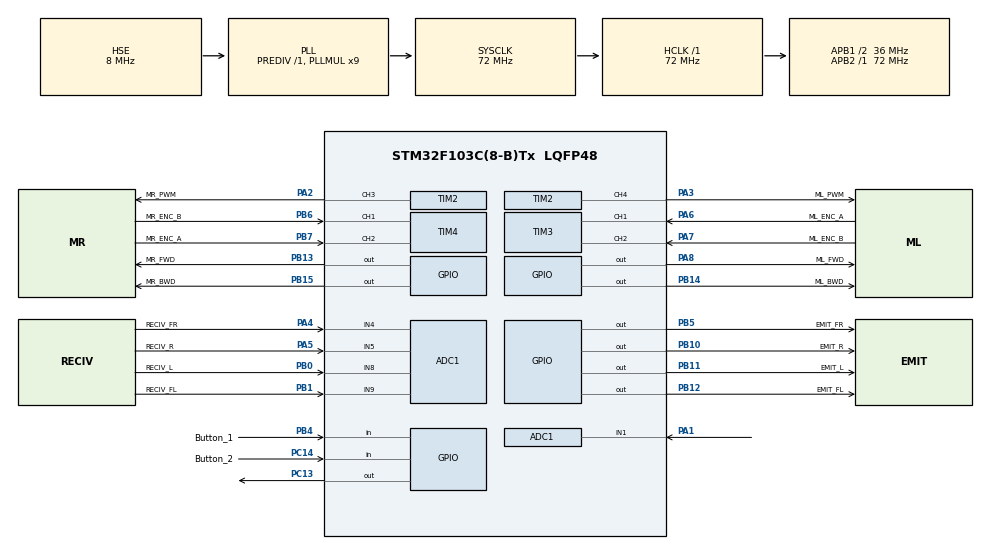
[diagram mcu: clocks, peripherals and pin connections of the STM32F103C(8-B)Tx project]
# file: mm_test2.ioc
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ADC1.Channel-0\#ChannelRegularConversion=ADC_CHANNEL_4
ADC1.NbrOfConversionFlag=1
ADC1.Rank-0\#ChannelRegularConversion=1
ADC1.SamplingTime-0\#ChannelRegularConversion=ADC_SAMPLETIME_1CYCLE_5
ADC1.master=1
Mcu.Family=STM32F1
Mcu.Name=STM32F103C(8-B)Tx
Mcu.Package=LQFP48
NVIC.PriorityGroup=NVIC_PRIORITYGROUP_4
NVIC.TIM2_IRQn=true\:0\:0\:false\:false\:true\:true\:true\:true
NVIC.TIM3_IRQn=true\:0\:0\:false\:false\:true\:true\:true\:true
NVIC.TIM4_IRQn=true\:0\:0\:false\:false\:true\:true\:true\:true
PA1.Signal=ADCx_IN1
PA10.Signal=USART1_RX
PA13.Mode=Serial_Wire
PA13.Signal=SYS_JTMS-SWDIO
PA14.Mode=Serial_Wire
PA14.Signal=SYS_JTCK-SWCLK
PA2.GPIO_Label=MR_PWM
PA2.Signal=S_TIM2_CH3
PA3.GPIO_Label=ML_PWM
PA3.Signal=S_TIM2_CH4
PA4.GPIO_Label=RECIV_FR
PA4.Signal=ADCx_IN4
PA5.GPIO_Label=RECIV_R
PA5.Signal=ADCx_IN5
PA6.GPIO_Label=ML_ENC_A
PA6.Signal=S_TIM3_CH1
PA7.GPIO_Label=ML_ENC_B
PA7.Signal=S_TIM3_CH2
PA8.GPIO_Label=ML_FWD
PA8.Signal=GPIO_Output
PA9.Signal=USART1_TX
PB0.GPIO_Label=RECIV_L
PB0.Signal=ADCx_IN8
PB1.GPIO_Label=RECIV_FL
PB1.Signal=ADCx_IN9
PB10.GPIO_Label=EMIT_R
PB10.Signal=GPIO_Output
PB11.GPIO_Label=EMIT_L
PB11.Signal=GPIO_Output
PB12.GPIO_Label=EMIT_FL
PB12.Signal=GPIO_Output
PB13.GPIO_Label=MR_FWD
PB13.Signal=GPIO_Output
PB14.GPIO_Label=ML_BWD
PB14.Signal=GPIO_Output
PB15.GPIO_Label=MR_BWD
PB15.Signal=GPIO_Output
PB4.GPIO_Label=Button_1
PB4.Signal=GPIO_Input
PB5.GPIO_Label=EMIT_FR
PB5.Signal=GPIO_Output
PB6.GPIO_Label=MR_ENC_B
PB6.Signal=S_TIM4_CH1
PB7.GPIO_Label=MR_ENC_A
PB7.Signal=S_TIM4_CH2
PC13-TAMPER-RTC.Signal=GPIO_Output
PC14-OSC32_IN.GPIO_Label=Button_2
PC14-OSC32_IN.Signal=GPIO_Input
PD0-OSC_IN.Mode=HSE-External-Oscillator
PD0-OSC_IN.Signal=RCC_OSC_IN
PD1-OSC_OUT.Mode=HSE-External-Oscillator
PD1-OSC_OUT.Signal=RCC_OSC_OUT
ProjectManager.HeapSize=0x200
ProjectManager.StackSize=0x400
ProjectManager.TargetToolchain=STM32CubeIDE
RCC.ADCPresc=RCC_ADCPCLK2_DIV6
RCC.AHBFreq_Value=72000000
RCC.APB1CLKDivider=RCC_HCLK_DIV2
RCC.APB1Freq_Value=36000000
RCC.APB1TimFreq_Value=72000000
RCC.APB2Freq_Value=72000000
RCC.APB2TimFreq_Value=72000000
RCC.HCLKFreq_Value=72000000
RCC.PLLMUL=RCC_PLL_MUL9
RCC.PLLSourceVirtual=RCC_PLLSOURCE_HSE
RCC.SYSCLKFreq_VALUE=72000000
RCC.SYSCLKSource=RCC_SYSCLKSOURCE_PLLCLK
RCC.USBFreq_Value=72000000
SH.ADCx_IN1.0=ADC1_IN1,IN1
SH.ADCx_IN4.0=ADC1_IN4,IN4
SH.ADCx_IN5.0=ADC1_IN5,IN5
SH.ADCx_IN8.0=ADC1_IN8,IN8
SH.ADCx_IN9.0=ADC1_IN9,IN9
SH.S_TIM2_CH3.0=TIM2_CH3,PWM Generation3 CH3
SH.S_TIM2_CH4.0=TIM2_CH4,PWM Generation4 CH4
SH.S_TIM3_CH1.0=TIM3_CH1,Encoder_Interface
SH.S_TIM3_CH2.0=TIM3_CH2,Encoder_Interface
SH.S_TIM4_CH1.0=TIM4_CH1,Encoder_Interface
SH.S_TIM4_CH2.0=TIM4_CH2,Encoder_Interface
TIM2.AutoReloadPreload=TIM_AUTORELOAD_PRELOAD_ENABLE
TIM2.Channel-PWM\ Generation3\ CH3=TIM_CHANNEL_3
TIM2.Channel-PWM\ Generation4\ CH4=TIM_CHANNEL_4
TIM2.Period=2047
TIM2.Prescaler=0
TIM2.Pulse-PWM\ Generation3\ CH3=25
TIM2.Pulse-PWM\ Generation4\ CH4=1024
TIM3.EncoderMode=TIM_ENCODERMODE_TI12
TIM3.IC1Polarity=TIM_ICPOLARITY_FALLING
TIM3.IC2Polarity=TIM_ICPOLARITY_FALLING
TIM4.EncoderMode=TIM_ENCODERMODE_TI12
TIM4.IC1Polarity=TIM_ICPOLARITY_FALLING
TIM4.IC2Polarity=TIM_ICPOLARITY_FALLING
VP_TIM2_VS_ClockSourceINT.Mode=Internal
board=custom

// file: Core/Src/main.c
/* USER CODE BEGIN Header */
/**
  ******************************************************************************
  * @file           : main.c
  * @brief          : Main program body
  ******************************************************************************
  * @attention
  *
  * Copyright (c) 2024 STMicroelectronics.
  * All rights reserved.
  *
  * This software is licensed under terms that can be found in the LICENSE file
  * in the root directory of this software component.
  * If no LICENSE file comes with this software, it is provided AS-IS.
  *
  ******************************************************************************
  */
#include "stdbool.h"
#include "stdio.h"
#include "stdlib.h"
/* USER CODE END Header */
#include "main.h"

/* USER CODE BEGIN Includes */

typedef enum {
	DIST_FL,
	DIST_FR,
	DIST_L,
	DIST_R
	}dist_t;

/* USER CODE END Includes */

ADC_HandleTypeDef hadc1;

TIM_HandleTypeDef htim2;
TIM_HandleTypeDef htim3;
TIM_HandleTypeDef htim4;

void SystemClock_Config(void);
static void MX_GPIO_Init(void);
static void MX_TIM2_Init(void);
static void MX_ADC1_Init(void);
static void MX_TIM4_Init(void);
static void MX_TIM3_Init(void);

/* USER CODE BEGIN 0 */
int32_t MAXCOST = 255;
_Bool on = false;

uint16_t enc_left = 0;
uint16_t enc_right = 0;
int16_t enc_left_typeC = 0;	//type-casted encoder values
int16_t enc_right_typeC = 0;
int32_t position_left = 0; //changed to 32bit integer to prevent overflow, may need to typecast?
int16_t speed_left =0;	//speed var for export
int32_t position_right = 0;
int16_t speed_right = 0; //speed var for export into it.c where speed is calculated
extern float speed_diff_left_cm;

//var for angle error control loop
uint16_t goal_angle = 0;
uint16_t angle_from_enc_error = 0;
uint16_t target_speed_left = 50;
uint16_t target_speed_right = 50;

//P and D variables for PID loop for encoders
int enc_error_current = 0;
int enc_error_past = 0;
int encoder_derivative = 0;
int encoder_integral = 0;
float enc_Kp = 1;
float enc_Ki = 0;
float enc_Kd = 0;
float enc_control_signal = 0;

//var's for distance from IR sensors
int16_t dis_FR = 0;
int16_t dis_FL = 0;
int16_t dis_L = 0;
int16_t dis_R = 0;
_Bool a = false;

//function for PD controller for distance
	//void PD_angle_controller(){	//will also need an distance controller
		//encoder_derivative = enc_error_current - enc_error_past;

//}

//function to obtain encoder values and convert them ro encoder revolutions
void HAL_TIM_IC_CaptureCallback(TIM_HandleTypeDef *htim) {
	// this is the left encoder timer
	/*if (htim->Instance == TIM3) {
		enc_left = __HAL_TIM_GET_COUNTER(htim);
}*/
	if (htim->Instance == TIM3) {
		enc_left = __HAL_TIM_GET_COUNTER(htim);
		enc_left_typeC = (int16_t)enc_left*(-1);
		position_left =  enc_left_typeC/360;
	}
	if (htim->Instance == TIM4) {
		enc_right = __HAL_TIM_GET_COUNTER(htim);
		enc_right_typeC = (int16_t)enc_right*(-1);
		position_right = enc_right_typeC/360;

	}

	enc_error_current = enc_left_typeC - enc_right_typeC;	//consider moving into SYS tick handler to use interrupts to calculate errors
	encoder_derivative = enc_error_current - enc_error_past; //settles around 0?? sum of errors
	encoder_integral += enc_error_current;
	enc_control_signal = enc_Kd*encoder_derivative + enc_Ki*encoder_integral + enc_Kp*enc_error_current;

	enc_error_past = enc_error_current;

}

// API EQUIVALENT FUNCTIONS START

uint32_t calculatePWM(uint32_t)
{
	//given a goal speed, return the value to set CCR4/CCR3
	return 0;
}

_Bool wallFront()
{
	return (dis_FR > 200 && dis_FL > 200);
}

_Bool wallRight()
{
	return dis_R > 200;
}

_Bool wallLeft()
{
	return dis_L > 200;
}

void move_bwd(uint32_t delay, uint32_t Lspeed, uint32_t Rspeed)
{
	  TIM2->CCR4 = Lspeed;
	  TIM2 ->CCR3 = Rspeed;

	  HAL_GPIO_WritePin(ML_FWD_GPIO_Port, ML_FWD_Pin, 1); // ml fwd high
	  HAL_GPIO_WritePin(ML_BWD_GPIO_Port, ML_BWD_Pin, 0);	//mlbwd low

	  HAL_GPIO_WritePin(MR_FWD_GPIO_Port, MR_FWD_Pin, 1); //mr fwd high
	  HAL_GPIO_WritePin(MR_BWD_GPIO_Port, MR_BWD_Pin, 0);
	  HAL_Delay(delay);
	  TIM2->CCR4 = 0;
	  	TIM2 ->CCR3 = 0;

}

void move_fwd(uint32_t delay, uint32_t Lspeed, uint32_t Rspeed)	//need a parameter to adjust TIM2 CCR4/3 and pass to while loop
{
	TIM2->CCR4 = Lspeed;
	TIM2 ->CCR3 = Rspeed;
	//bwd
	HAL_GPIO_WritePin(ML_FWD_GPIO_Port, ML_FWD_Pin, 0); // ml fwd high
	HAL_GPIO_WritePin(ML_BWD_GPIO_Port, ML_BWD_Pin, 1);	//mlbwd low

	HAL_GPIO_WritePin(MR_FWD_GPIO_Port, MR_FWD_Pin, 0); //mr fwd high
	HAL_GPIO_WritePin(MR_BWD_GPIO_Port, MR_BWD_Pin, 1);

	HAL_Delay(delay);
	TIM2->CCR4 = 0;
	TIM2 ->CCR3 = 0;
}

void rotate_right(uint32_t delay, uint32_t speed)
{
	TIM2->CCR4 = speed;
	TIM2 ->CCR3 = speed;
	//bwd
	HAL_GPIO_WritePin(ML_FWD_GPIO_Port, ML_FWD_Pin, 0); // ml fwd high
	HAL_GPIO_WritePin(ML_BWD_GPIO_Port, ML_BWD_Pin, 1);	//mlbwd low

	HAL_GPIO_WritePin(MR_FWD_GPIO_Port, MR_FWD_Pin, 1); //mr fwd high
	HAL_GPIO_WritePin(MR_BWD_GPIO_Port, MR_BWD_Pin, 0);

	HAL_Delay(delay);
	TIM2->CCR4 = 0;
		TIM2 ->CCR3 = 0;
}

void rotate_left(uint32_t delay, uint32_t speed)
{

	TIM2->CCR4 = speed;
	TIM2 ->CCR3 = speed;
	//bwd
	HAL_GPIO_WritePin(ML_FWD_GPIO_Port, ML_FWD_Pin, 1); // ml fwd high
	HAL_GPIO_WritePin(ML_BWD_GPIO_Port, ML_BWD_Pin, 0);	//mlbwd low

	HAL_GPIO_WritePin(MR_FWD_GPIO_Port, MR_FWD_Pin, 0); //mr fwd high
	HAL_GPIO_WritePin(MR_BWD_GPIO_Port, MR_BWD_Pin, 1);

	HAL_Delay(delay);
	TIM2->CCR4 = 0;
	TIM2 ->CCR3 = 0;
}

void turn_right(uint32_t speed) {
	//smooth turn
	;
}

void turn_left(uint32_t speed) {;}

// END API FUNCTIONS

//functions to select and initialize adc CHANNELS
static void ADC1_Select_CH4(void){
ADC_ChannelConfTypeDef sConfig = {0};
		sConfig.Channel = ADC_CHANNEL_4;
		sConfig.Rank = ADC_REGULAR_RANK_1;
		sConfig.SamplingTime = ADC_SAMPLETIME_7CYCLES_5;
		if(HAL_ADC_ConfigChannel(&hadc1, &sConfig) != HAL_OK)
		{
			Error_Handler();
		}
	}

static void ADC1_Select_CH9(void){
		ADC_ChannelConfTypeDef sConfig = {0};
			sConfig.Channel = ADC_CHANNEL_9;
			sConfig.Rank = ADC_REGULAR_RANK_1;
			sConfig.SamplingTime = ADC_SAMPLETIME_7CYCLES_5;
			if(HAL_ADC_ConfigChannel(&hadc1, &sConfig) != HAL_OK)
			{
				Error_Handler();
			}
	}

static void ADC1_Select_CH5(void){
		ADC_ChannelConfTypeDef sConfig = {0};
			sConfig.Channel = ADC_CHANNEL_5;
			sConfig.Rank = ADC_REGULAR_RANK_1;
			sConfig.SamplingTime = ADC_SAMPLETIME_7CYCLES_5;
			if(HAL_ADC_ConfigChannel(&hadc1, &sConfig) != HAL_OK)
			{
				Error_Handler();
			}
	}
static void ADC1_Select_CH8(void){
		ADC_ChannelConfTypeDef sConfig = {0};
			sConfig.Channel = ADC_CHANNEL_8;
			sConfig.Rank = ADC_REGULAR_RANK_1;
			sConfig.SamplingTime = ADC_SAMPLETIME_7CYCLES_5;
			if(HAL_ADC_ConfigChannel(&hadc1, &sConfig) != HAL_OK)
			{
				Error_Handler();
			}
	}

uint16_t measure_dist(dist_t dist){
	GPIO_TypeDef* emitter_port;
	uint16_t emitter_pin;
	GPIO_TypeDef* receiver_port;
	uint16_t receiver_pin;
	switch(dist) {
	case DIST_FL:
		emitter_port	= EMIT_FL_GPIO_Port; //assign ports to variables
		emitter_pin		= EMIT_FL_Pin;	//assign pins to variables
		receiver_port	= RECIV_FL_GPIO_Port;
		receiver_pin 	= RECIV_FL_Pin;
		ADC1_Select_CH9();
		break;
	case DIST_FR:
			emitter_port	= EMIT_FR_GPIO_Port;
			emitter_pin		= EMIT_FR_Pin;
			receiver_port	= RECIV_FR_GPIO_Port;
			receiver_pin 	= RECIV_FR_Pin;
			ADC1_Select_CH4();
			break;
	case DIST_R:
				emitter_port	= EMIT_R_GPIO_Port;
				emitter_pin		= EMIT_R_Pin;
				receiver_port	= RECIV_R_GPIO_Port;
				receiver_pin 	= RECIV_R_Pin;
				ADC1_Select_CH5();
				break;
	case DIST_L:
					emitter_port	= EMIT_L_GPIO_Port;
					emitter_pin		= EMIT_L_Pin;
					receiver_port	= RECIV_L_GPIO_Port;
					receiver_pin 	= RECIV_L_Pin;
					ADC1_Select_CH8();
					break;
	default:
			break;
	}
	HAL_GPIO_WritePin(emitter_port, emitter_pin, GPIO_PIN_SET); //this function enables us to write to a pin
	HAL_Delay(5);
	HAL_ADC_Start(&hadc1); //activate the ADC
	HAL_ADC_PollForConversion(&hadc1, HAL_MAX_DELAY);
	uint16_t adc_val = HAL_ADC_GetValue(&hadc1);
	HAL_ADC_Stop(&hadc1);
	return adc_val;
}

// FLOODFILL MAZE LOGIC START

typedef struct Coord {
    int x;
    int y;
}Coord;

typedef enum Direction
{
    NORTH = 0,
    EAST = 1,
    SOUTH = 2,
    WEST = 3
}Direction;

typedef enum DirectionBitmask
{
    NORTH_MASK = 0b1000,
    EAST_MASK = 0b0100,
    SOUTH_MASK = 0b0010,
    WEST_MASK = 0b0001
}DirectionBitmask;

typedef struct Cell {
    Coord pos;
    Direction dir;
    bool blocked;
}Cell;

typedef struct CellList {
    int size;
    Cell* cells;
}CellList;

typedef struct Maze{
    Coord mousePos;
    Direction mouseDir;

    int distances[16][16];
    bool exploredCells[16][16];
    int cellWalls[16][16];
    bool verticalWalls[16][17];
    bool horizontalWalls[17][16];
}Maze;

_Bool _in_bounds(Coord c);
CellList *getNeighborCells(Maze *m, Coord c);
Cell getBestCell(Maze *m);

void cw_step(Maze *m);
void ccw_step(Maze *m);

void setGoalCell(Maze *m);

void updateSimulator(Maze m);
void _reset_distances(Maze *m);
void updatePos(Maze *m);

void scanWalls(Maze *m);
Direction dir(Maze *m);

void floodfill(Maze *m, _Bool returning);

// OPTIMIZE
void init_walls(Maze *m)
{
    for (int i = 0; i < 16; ++i)
    {
        for (int j = 0; j < 16; ++j)
        {
            m->cellWalls[j][i] = 0;
        }
    }
    for (int y = 0; y < 17; ++y)
    {
        for (int x = 0; x < 16; ++x)
        {
            m->verticalWalls[x][y] = false;
            m->horizontalWalls[y][x] = false;
            if (x == 0 && y != 16)
            {
                m->horizontalWalls[x][y] = true;
                m->verticalWalls[y][x] = true;
            }
            else if (x == 15 && y != 16)
            {
                m->horizontalWalls[x+1][y] = true;
                m->verticalWalls[y][x+1] = true;
            }
        }
    }
}

bool _in_bounds(Coord c)
{
    return c.x >= 0 && c.x < 16 && c.y >= 0 && c.y < 16;
}

CellList *getNeighborCells(Maze *m, Coord c)
{
    CellList *neighbors = (CellList *)malloc(sizeof(CellList));
    neighbors->size = 4;
    neighbors->cells = (Cell *)malloc(neighbors->size * sizeof(Cell));

    neighbors->cells[0] = (Cell){(Coord){c.x + 1, c.y}, EAST, m->horizontalWalls[c.x + 1][c.y] || !_in_bounds((Coord){c.x + 1, c.y})};
    neighbors->cells[1] = (Cell){(Coord){c.x, c.y + 1}, NORTH, m->verticalWalls[c.x][c.y + 1] || !_in_bounds((Coord){c.x, c.y + 1})};
    neighbors->cells[2] = (Cell){(Coord){c.x - 1, c.y}, WEST, m->horizontalWalls[c.x][c.y] || !_in_bounds((Coord){c.x - 1, c.y})};
    neighbors->cells[3] = (Cell){(Coord){c.x, c.y - 1}, SOUTH, m->verticalWalls[c.x][c.y] || !_in_bounds((Coord){c.x, c.y - 1})};

    return neighbors;
}

Cell getBestKnownCell(Maze *m)
{
	int mx = m->mousePos.x;
	    int my = m->mousePos.y;
	    int shortest = m->distances[mx][my];
	    CellList *best_cells = getNeighborCells(m, m->mousePos);
	    int b_size = best_cells->size;
	    Cell best = (Cell){(Coord){255, 255}, NORTH, true};
	    // first choice, explored and less than curr distance, cannot call on first run
	    for (int i = 0; i < b_size; ++i)
	    {
	        int bx = best_cells->cells[i].pos.x;
	        int by = best_cells->cells[i].pos.y;
	        if (!best_cells->cells[i].blocked && m->distances[bx][by] < shortest)
	        {
	            best = best_cells->cells[i];
	            shortest = m->distances[bx][by];
	        }
	    }
	     if (best.blocked)
	    {
	        for (int i = 0; i < b_size; ++i)
	        {

	            int bx = best_cells->cells[i].pos.x;
	            int by = best_cells->cells[i].pos.y;
	            if (!best_cells->cells[i].blocked && m->distances[bx][by] <= shortest)
	            {
	                best = best_cells->cells[i];
	                shortest = m->distances[bx][by];
	            }
	        }
	    }
	    if (best.blocked)
	    {
	        for (int i = 0; i < b_size; ++i)
	        {

	            int bx = best_cells->cells[i].pos.x;
	            int by = best_cells->cells[i].pos.y;
	            if (!best_cells->cells[i].blocked)
	            {
	                best = best_cells->cells[i];
	                shortest = m->distances[bx][by];
	            }
	        }
	    }
	    free(best_cells->cells);
	    free(best_cells);
	    return best;
}

Cell getBestCell(Maze *m)
{
    int mx = m->mousePos.x;
    int my = m->mousePos.y;
    int shortest = m->distances[mx][my];
    CellList *best_cells = getNeighborCells(m, m->mousePos);
    int b_size = best_cells->size;
    Cell best = {(Coord){255, 255}, NORTH, true};
    // first choice, unexplored and less than curr distance
    for (int i = 0; i < b_size; ++i)
    {
        int bx = best_cells->cells[i].pos.x;
        int by = best_cells->cells[i].pos.y;
        if (!best_cells->cells[i].blocked && ((!m->exploredCells[bx][by] && m->distances[bx][by] < shortest)))
        {
            best = best_cells->cells[i];
            shortest = m->distances[bx][by];
        }
    }

    // second choice, unexplored, less than or equal to
    for (int i = 0; i < b_size; ++i)
    {
        int bx = best_cells->cells[i].pos.x;
        int by = best_cells->cells[i].pos.y;
        if (!best_cells->cells[i].blocked && ((!m->exploredCells[bx][by] && m->distances[bx][by] <= shortest)))
        {
            best = best_cells->cells[i];
            shortest = m->distances[bx][by];
        }
    }
    //2.5 choice unexplored
    if (best.blocked)
    {
        for (int i = 0; i < b_size; ++i)
        {

            int bx = best_cells->cells[i].pos.x;
            int by = best_cells->cells[i].pos.y;
            if (!best_cells->cells[i].blocked && !m->exploredCells[bx][by])
            {
                best = best_cells->cells[i];
                shortest = m->distances[bx][by];
            }
        }
    }
    // third choice, less than curr distance
    if (best.blocked)
    {
        for (int i = 0; i < b_size; ++i)
        {

            int bx = best_cells->cells[i].pos.x;
            int by = best_cells->cells[i].pos.y;
            if (!best_cells->cells[i].blocked && m->distances[bx][by] < shortest)
            {
                best = best_cells->cells[i];
                shortest = m->distances[bx][by];
            }
        }
    }
    // last choice, less than or equal to curr distance and explored
    if (best.blocked)
    {
        for (int i = 0; i < b_size; ++i)
        {

            int bx = best_cells->cells[i].pos.x;
            int by = best_cells->cells[i].pos.y;
            if (!best_cells->cells[i].blocked && m->distances[bx][by] <= shortest)
            {
                best = best_cells->cells[i];
                shortest = m->distances[bx][by];
            }
        }
    }
    if (best.blocked)
    {
        for (int i = 0; i < b_size; ++i)
        {

            int bx = best_cells->cells[i].pos.x;
            int by = best_cells->cells[i].pos.y;
            if (!best_cells->cells[i].blocked)
            {
                best = best_cells->cells[i];
                shortest = m->distances[bx][by];
            }
        }
    }
    free(best_cells->cells);
    free(best_cells);
    return best;
}

void cw_step(Maze *m)
{
    rotate_right(1000, 1300);
    m->mouseDir = (Direction)((m->mouseDir + 1) % 4);
}

void ccw_step(Maze *m)
{
    rotate_left(1000, 1300);
    m->mouseDir = (Direction)((m->mouseDir + 3) % 4);
}

void setGoalCenter(Maze *m)
{
    m->distances[7][7] = 0;
    m->distances[7][8] = 0;
    m->distances[8][7] = 0;
    m->distances[8][8] = 0;
}

// optimize:
void scanWalls(Maze *m)
{
    // scan front
    if (m->mouseDir == NORTH)
    {
        if (wallFront())
        {
            m->verticalWalls[m->mousePos.x][m->mousePos.y + 1] = true;
        }
        if (wallRight())
        {
            m->horizontalWalls[m->mousePos.x + 1][m->mousePos.y] = true;
        }
        if (wallLeft())
        {
            m->horizontalWalls[m->mousePos.x][m->mousePos.y] = true;
        }
    }
    else if (m->mouseDir == EAST)
    {
        if (wallFront())
        {
            m->horizontalWalls[m->mousePos.x + 1][m->mousePos.y] = true;
        }
        if (wallRight())
        {
            m->verticalWalls[m->mousePos.x][m->mousePos.y] = true;
        }
        if (wallLeft())
        {
            m->verticalWalls[m->mousePos.x][m->mousePos.y + 1] = true;
        }
    }
    else if (m->mouseDir == SOUTH)
    {
        if (wallFront())
        {
            m->verticalWalls[m->mousePos.x][m->mousePos.y] = true;
        }
        if (wallRight())
        {
            m->horizontalWalls[m->mousePos.x][m->mousePos.y] = true;
        }
        if (wallLeft())
        {
            m->horizontalWalls[m->mousePos.x + 1][m->mousePos.y] = true;
        }
    }
    else if (m->mouseDir == WEST)
    {
        if (wallFront())
        {
            m->horizontalWalls[m->mousePos.x][m->mousePos.y] = true;
        }
        if (wallRight())
        {
            m->verticalWalls[m->mousePos.x][m->mousePos.y + 1] = true;
        }
        if (wallLeft())
        {
            m->verticalWalls[m->mousePos.x][m->mousePos.y] = true;
        }
    }
}

void updateWalls(Maze *m)
{
    for (int y = 0; y <= 16; ++y)
    {
        for (int x = 0; x < 16; ++x)
        {
            if (m->verticalWalls[x][y])
            {
                if (y == 0)
                    m->cellWalls[x][y] = SOUTH_MASK;
                else if (y == 16)
                    m->cellWalls[x][y - 1] = NORTH_MASK;
                else
                {
                    m->cellWalls[x][y] |= SOUTH_MASK;
                    m->cellWalls[x][y - 1] |= NORTH_MASK;
                }
            }
            if (m->horizontalWalls[y][x])
            {
                if (y == 0)
                    m->cellWalls[y][x] |= WEST_MASK;
                else if (y == 16)
                    m->cellWalls[y - 1][x] |= EAST_MASK;
                else
                {
                    m->cellWalls[y][x] |= WEST_MASK;
                    m->cellWalls[y - 1][x] |= EAST_MASK;
                }
            }
        }
    }
}

void updatePos(Maze *m)
{
    move_fwd(1000, 1300, 1300);
    m->exploredCells[m->mousePos.x][m->mousePos.y] = true;
    //API::setColor(m->mousePos.x, m->mousePos.y, 'G');
    if (m->mouseDir == NORTH)
        m->mousePos.y++;
    if (m->mouseDir == SOUTH)
        m->mousePos.y--;
    if (m->mouseDir == WEST)
        m->mousePos.x--;
    if (m->mouseDir == EAST)
        m->mousePos.x++;

}

Direction dir(Maze *m)
{
    Direction d = m->mouseDir;
    return d;
}

void floodfill(Maze *m, _Bool returning)
{
    Coord queue[255];
    int h = 0, t = 0;
    // set goal cell distances to 0
    _reset_distances(m);
    if (!returning) {
        setGoalCenter(m);
        queue[t] = (Coord){7, 7};
        ++t;
        queue[t] = (Coord){7, 8};
        ++t;
        queue[t] = (Coord){8, 7};
        ++t;
        queue[t] = (Coord){8, 8};
        ++t;
    }   else if (returning) {
        m->distances[0][0] = 0;
        queue[t] = (Coord){0,0};
        ++t;
    }

    while (t - h > 0)
    {
        Coord cur_pos = queue[h];
        ++h;
        int newcost = m->distances[cur_pos.x][cur_pos.y] + 1;
        CellList *neighbor = getNeighborCells(m, cur_pos);
        int n_size = neighbor->size;
        for (int i = 0; i < n_size; ++i)
        {
            if (!neighbor->cells[i].blocked)
            {
                if (m->distances[neighbor->cells[i].pos.x][neighbor->cells[i].pos.y] > newcost)
                {
                    m->distances[neighbor->cells[i].pos.x][neighbor->cells[i].pos.y] = newcost;
                    queue[t] = (Coord){neighbor->cells[i].pos.x, neighbor->cells[i].pos.y};
                    ++t;
                }
            }
        }
        free(neighbor->cells);
        free(neighbor);
    }
}

void _reset_distances(Maze *m)
{
    for (int i = 0; i < 16; ++i)
    {
        for (int j = 0; j < 16; ++j) m->distances[i][j] = MAXCOST;
    }
}

void DFS(Maze *m, _Bool returning) {
    floodfill(m, returning);
    while (m->distances[m->mousePos.x][m->mousePos.y] != 0)
    {
        floodfill(m, returning);
        scanWalls(m);
        updateWalls(m);

        Cell best = getBestCell(m);

        if (best.dir == m->mouseDir);
        else if (best.dir == (m->mouseDir + 3) % 4) ccw_step(m);
        else if (best.dir == (m->mouseDir + 1) % 4) cw_step(m);
        else
        {
            cw_step(m);
            cw_step(m);
        }
        updatePos(m);
    }
}

void quickestKnown(Maze *m, bool returning) {
    floodfill(m, returning);
    while (m->distances[m->mousePos.x][m->mousePos.y] != 0)
    {
        floodfill(m, returning);
        scanWalls(m);
        updateWalls(m);
        Cell best = getBestCell(m);
        if (best.dir == m->mouseDir) ;
        else if (best.dir == (m->mouseDir + 3) % 4) ccw_step(m);
        else if (best.dir == (m->mouseDir + 1) % 4) cw_step(m);
        else
        {
            cw_step(m);
            cw_step(m);
        }

        updatePos(m);
    }
}

//
//FLOODFILL MAZE LOGIC END

/* USER CODE END 0 */

int main(void)
{

  /* MCU Configuration--------------------------------------------------------*/

  /* Reset of all peripherals, Initializes the Flash interface and the Systick. */
                                HAL_Init();

  /* Configure the system clock */
  SystemClock_Config();

  /* Initialize all configured peripherals */
  MX_GPIO_Init();
  MX_TIM2_Init();
  MX_ADC1_Init();
  MX_TIM4_Init();
  MX_TIM3_Init();
  /* USER CODE BEGIN 2 */
  HAL_TIM_PWM_Start(&htim2, TIM_CHANNEL_4);
  HAL_TIM_PWM_Start(&htim2, TIM_CHANNEL_3);
  HAL_TIM_Encoder_Start_IT(&htim3, TIM_CHANNEL_ALL);
  HAL_TIM_Encoder_Start_IT(&htim4, TIM_CHANNEL_ALL);

  /* USER CODE END 2 */

  /* Infinite loop */
  /* USER CODE BEGIN WHILE */
  Maze m = {};
  m.mousePos = (Coord){0,0};
  m.mouseDir = NORTH;
      init_walls(&m);

  while (1)
  {
	  //calls to measure distance FR,FL,L,R can adjust delay in timing function to make the IR sensors more responsive
	  dis_FR = measure_dist(DIST_FR);
	  dis_FL = measure_dist(DIST_FL);
	  dis_R = measure_dist(DIST_R);
	  dis_L = measure_dist(DIST_L);

	  if(HAL_GPIO_ReadPin(GPIOB, GPIO_PIN_4) == GPIO_PIN_RESET){ //code for reading a button input/output
		  on = true;
	  }

	  if(HAL_GPIO_ReadPin(GPIOC, GPIO_PIN_14) == GPIO_PIN_RESET) on = false;

	  if (on) {
		  /*
	  		 DFS(&m, false);
	  		 DFS(&m, true);
	  		 DFS(&m, false);
	  		 DFS(&m, true);
	  		 */
		  if (dis_FR > 100 || dis_FL > 100) {
			  rotate_left(400, 1300);
		  }
		  else {
			  move_fwd(100, 1300, 1300);
		  }
	  }
	  else {
		  //quickestKnown(&m, false);
	  }

    /* USER CODE END WHILE */

  }
}

void SystemClock_Config(void)
{
  RCC_OscInitTypeDef RCC_OscInitStruct = {0};
  RCC_ClkInitTypeDef RCC_ClkInitStruct = {0};
  RCC_PeriphCLKInitTypeDef PeriphClkInit = {0};

  /** Initializes the RCC Oscillators according to the specified parameters
  * in the RCC_OscInitTypeDef structure.
  */
  RCC_OscInitStruct.OscillatorType = RCC_OSCILLATORTYPE_HSE;
  RCC_OscInitStruct.HSEState = RCC_HSE_ON;
  RCC_OscInitStruct.HSEPredivValue = RCC_HSE_PREDIV_DIV1;
  RCC_OscInitStruct.HSIState = RCC_HSI_ON;
  RCC_OscInitStruct.PLL.PLLState = RCC_PLL_ON;
  RCC_OscInitStruct.PLL.PLLSource = RCC_PLLSOURCE_HSE;
  RCC_OscInitStruct.PLL.PLLMUL = RCC_PLL_MUL9;
  if (HAL_RCC_OscConfig(&RCC_OscInitStruct) != HAL_OK)
  {
    Error_Handler();
  }

  /** Initializes the CPU, AHB and APB buses clocks
  */
  RCC_ClkInitStruct.ClockType = RCC_CLOCKTYPE_HCLK|RCC_CLOCKTYPE_SYSCLK
                              |RCC_CLOCKTYPE_PCLK1|RCC_CLOCKTYPE_PCLK2;
  RCC_ClkInitStruct.SYSCLKSource = RCC_SYSCLKSOURCE_PLLCLK;
  RCC_ClkInitStruct.AHBCLKDivider = RCC_SYSCLK_DIV1;
  RCC_ClkInitStruct.APB1CLKDivider = RCC_HCLK_DIV2;
  RCC_ClkInitStruct.APB2CLKDivider = RCC_HCLK_DIV1;

  if (HAL_RCC_ClockConfig(&RCC_ClkInitStruct, FLASH_LATENCY_2) != HAL_OK)
  {
    Error_Handler();
  }
  PeriphClkInit.PeriphClockSelection = RCC_PERIPHCLK_ADC;
  PeriphClkInit.AdcClockSelection = RCC_ADCPCLK2_DIV6;
  if (HAL_RCCEx_PeriphCLKConfig(&PeriphClkInit) != HAL_OK)
  {
    Error_Handler();
  }
}

static void MX_ADC1_Init(void)
{

  ADC_ChannelConfTypeDef sConfig = {0};

  /** Common config
  */
  hadc1.Instance = ADC1;
  hadc1.Init.ScanConvMode = ADC_SCAN_DISABLE;
  hadc1.Init.ContinuousConvMode = DISABLE;
  hadc1.Init.DiscontinuousConvMode = DISABLE;
  hadc1.Init.ExternalTrigConv = ADC_SOFTWARE_START;
  hadc1.Init.DataAlign = ADC_DATAALIGN_RIGHT;
  hadc1.Init.NbrOfConversion = 1;
  if (HAL_ADC_Init(&hadc1) != HAL_OK)
  {
    Error_Handler();
  }

  /** Configure Regular Channel
  */
  sConfig.Channel = ADC_CHANNEL_4;
  sConfig.Rank = ADC_REGULAR_RANK_1;
  sConfig.SamplingTime = ADC_SAMPLETIME_1CYCLE_5;
  if (HAL_ADC_ConfigChannel(&hadc1, &sConfig) != HAL_OK)
  {
    Error_Handler();
  }

}

static void MX_TIM2_Init(void)
{

  TIM_ClockConfigTypeDef sClockSourceConfig = {0};
  TIM_MasterConfigTypeDef sMasterConfig = {0};
  TIM_OC_InitTypeDef sConfigOC = {0};

  htim2.Instance = TIM2;
  htim2.Init.Prescaler = 0;
  htim2.Init.CounterMode = TIM_COUNTERMODE_UP;
  htim2.Init.Period = 2047;
  htim2.Init.ClockDivision = TIM_CLOCKDIVISION_DIV1;
  htim2.Init.AutoReloadPreload = TIM_AUTORELOAD_PRELOAD_ENABLE;
  if (HAL_TIM_Base_Init(&htim2) != HAL_OK)
  {
    Error_Handler();
  }
  sClockSourceConfig.ClockSource = TIM_CLOCKSOURCE_INTERNAL;
  if (HAL_TIM_ConfigClockSource(&htim2, &sClockSourceConfig) != HAL_OK)
  {
    Error_Handler();
  }
  if (HAL_TIM_PWM_Init(&htim2) != HAL_OK)
  {
    Error_Handler();
  }
  sMasterConfig.MasterOutputTrigger = TIM_TRGO_RESET;
  sMasterConfig.MasterSlaveMode = TIM_MASTERSLAVEMODE_DISABLE;
  if (HAL_TIMEx_MasterConfigSynchronization(&htim2, &sMasterConfig) != HAL_OK)
  {
    Error_Handler();
  }
  sConfigOC.OCMode = TIM_OCMODE_PWM1;
  sConfigOC.Pulse = 25;
  sConfigOC.OCPolarity = TIM_OCPOLARITY_HIGH;
  sConfigOC.OCFastMode = TIM_OCFAST_DISABLE;
  if (HAL_TIM_PWM_ConfigChannel(&htim2, &sConfigOC, TIM_CHANNEL_3) != HAL_OK)
  {
    Error_Handler();
  }
  sConfigOC.Pulse = 1024;
  if (HAL_TIM_PWM_ConfigChannel(&htim2, &sConfigOC, TIM_CHANNEL_4) != HAL_OK)
  {
    Error_Handler();
  }
  HAL_TIM_MspPostInit(&htim2);

}

static void MX_TIM3_Init(void)
{

  TIM_Encoder_InitTypeDef sConfig = {0};
  TIM_MasterConfigTypeDef sMasterConfig = {0};

  htim3.Instance = TIM3;
  htim3.Init.Prescaler = 0;
  htim3.Init.CounterMode = TIM_COUNTERMODE_UP;
  htim3.Init.Period = 65535;
  htim3.Init.ClockDivision = TIM_CLOCKDIVISION_DIV1;
  htim3.Init.AutoReloadPreload = TIM_AUTORELOAD_PRELOAD_DISABLE;
  sConfig.EncoderMode = TIM_ENCODERMODE_TI12;
  sConfig.IC1Polarity = TIM_ICPOLARITY_FALLING;
  sConfig.IC1Selection = TIM_ICSELECTION_DIRECTTI;
  sConfig.IC1Prescaler = TIM_ICPSC_DIV1;
  sConfig.IC1Filter = 0;
  sConfig.IC2Polarity = TIM_ICPOLARITY_FALLING;
  sConfig.IC2Selection = TIM_ICSELECTION_DIRECTTI;
  sConfig.IC2Prescaler = TIM_ICPSC_DIV1;
  sConfig.IC2Filter = 0;
  if (HAL_TIM_Encoder_Init(&htim3, &sConfig) != HAL_OK)
  {
    Error_Handler();
  }
  sMasterConfig.MasterOutputTrigger = TIM_TRGO_RESET;
  sMasterConfig.MasterSlaveMode = TIM_MASTERSLAVEMODE_DISABLE;
  if (HAL_TIMEx_MasterConfigSynchronization(&htim3, &sMasterConfig) != HAL_OK)
  {
    Error_Handler();
  }

}

static void MX_TIM4_Init(void)
{

  TIM_Encoder_InitTypeDef sConfig = {0};
  TIM_MasterConfigTypeDef sMasterConfig = {0};

  htim4.Instance = TIM4;
  htim4.Init.Prescaler = 0;
  htim4.Init.CounterMode = TIM_COUNTERMODE_UP;
  htim4.Init.Period = 65535;
  htim4.Init.ClockDivision = TIM_CLOCKDIVISION_DIV1;
  htim4.Init.AutoReloadPreload = TIM_AUTORELOAD_PRELOAD_DISABLE;
  sConfig.EncoderMode = TIM_ENCODERMODE_TI12;
  sConfig.IC1Polarity = TIM_ICPOLARITY_FALLING;
  sConfig.IC1Selection = TIM_ICSELECTION_DIRECTTI;
  sConfig.IC1Prescaler = TIM_ICPSC_DIV1;
  sConfig.IC1Filter = 0;
  sConfig.IC2Polarity = TIM_ICPOLARITY_FALLING;
  sConfig.IC2Selection = TIM_ICSELECTION_DIRECTTI;
  sConfig.IC2Prescaler = TIM_ICPSC_DIV1;
  sConfig.IC2Filter = 0;
  if (HAL_TIM_Encoder_Init(&htim4, &sConfig) != HAL_OK)
  {
    Error_Handler();
  }
  sMasterConfig.MasterOutputTrigger = TIM_TRGO_RESET;
  sMasterConfig.MasterSlaveMode = TIM_MASTERSLAVEMODE_DISABLE;
  if (HAL_TIMEx_MasterConfigSynchronization(&htim4, &sMasterConfig) != HAL_OK)
  {
    Error_Handler();
  }

}

static void MX_GPIO_Init(void)
{
  GPIO_InitTypeDef GPIO_InitStruct = {0};

  /* GPIO Ports Clock Enable */
  __HAL_RCC_GPIOC_CLK_ENABLE();
  __HAL_RCC_GPIOD_CLK_ENABLE();
  __HAL_RCC_GPIOA_CLK_ENABLE();
  __HAL_RCC_GPIOB_CLK_ENABLE();

  /*Configure GPIO pin Output Level */
  HAL_GPIO_WritePin(GPIOC, GPIO_PIN_13, GPIO_PIN_RESET);

  /*Configure GPIO pin Output Level */
  HAL_GPIO_WritePin(GPIOB, EMIT_R_Pin|EMIT_L_Pin|EMIT_FL_Pin|MR_FWD_Pin
                          |ML_BWD_Pin|MR_BWD_Pin|EMIT_FR_Pin, GPIO_PIN_RESET);

  /*Configure GPIO pin Output Level */
  HAL_GPIO_WritePin(ML_FWD_GPIO_Port, ML_FWD_Pin, GPIO_PIN_RESET);

  /*Configure GPIO pin : PC13 */
  GPIO_InitStruct.Pin = GPIO_PIN_13;
  GPIO_InitStruct.Mode = GPIO_MODE_OUTPUT_PP;
  GPIO_InitStruct.Pull = GPIO_NOPULL;
  GPIO_InitStruct.Speed = GPIO_SPEED_FREQ_LOW;
  HAL_GPIO_Init(GPIOC, &GPIO_InitStruct);

  /*Configure GPIO pin : Button_2_Pin */
  GPIO_InitStruct.Pin = Button_2_Pin;
  GPIO_InitStruct.Mode = GPIO_MODE_INPUT;
  GPIO_InitStruct.Pull = GPIO_NOPULL;
  HAL_GPIO_Init(Button_2_GPIO_Port, &GPIO_InitStruct);

  /*Configure GPIO pins : EMIT_R_Pin EMIT_L_Pin EMIT_FL_Pin MR_FWD_Pin
                           ML_BWD_Pin MR_BWD_Pin EMIT_FR_Pin */
  GPIO_InitStruct.Pin = EMIT_R_Pin|EMIT_L_Pin|EMIT_FL_Pin|MR_FWD_Pin
                          |ML_BWD_Pin|MR_BWD_Pin|EMIT_FR_Pin;
  GPIO_InitStruct.Mode = GPIO_MODE_OUTPUT_PP;
  GPIO_InitStruct.Pull = GPIO_NOPULL;
  GPIO_InitStruct.Speed = GPIO_SPEED_FREQ_LOW;
  HAL_GPIO_Init(GPIOB, &GPIO_InitStruct);

  /*Configure GPIO pin : ML_FWD_Pin */
  GPIO_InitStruct.Pin = ML_FWD_Pin;
  GPIO_InitStruct.Mode = GPIO_MODE_OUTPUT_PP;
  GPIO_InitStruct.Pull = GPIO_NOPULL;
  GPIO_InitStruct.Speed = GPIO_SPEED_FREQ_LOW;
  HAL_GPIO_Init(ML_FWD_GPIO_Port, &GPIO_InitStruct);

  /*Configure GPIO pin : PA9 */
  GPIO_InitStruct.Pin = GPIO_PIN_9;
  GPIO_InitStruct.Mode = GPIO_MODE_AF_PP;
  GPIO_InitStruct.Speed = GPIO_SPEED_FREQ_HIGH;
  HAL_GPIO_Init(GPIOA, &GPIO_InitStruct);

  /*Configure GPIO pin : PA10 */
  GPIO_InitStruct.Pin = GPIO_PIN_10;
  GPIO_InitStruct.Mode = GPIO_MODE_INPUT;
  GPIO_InitStruct.Pull = GPIO_NOPULL;
  HAL_GPIO_Init(GPIOA, &GPIO_InitStruct);

  /*Configure GPIO pin : Button_1_Pin */
  GPIO_InitStruct.Pin = Button_1_Pin;
  GPIO_InitStruct.Mode = GPIO_MODE_INPUT;
  GPIO_InitStruct.Pull = GPIO_NOPULL;
  HAL_GPIO_Init(Button_1_GPIO_Port, &GPIO_InitStruct);

}

void Error_Handler(void)
{
  __disable_irq();
  while (1)
  {
  }
}
